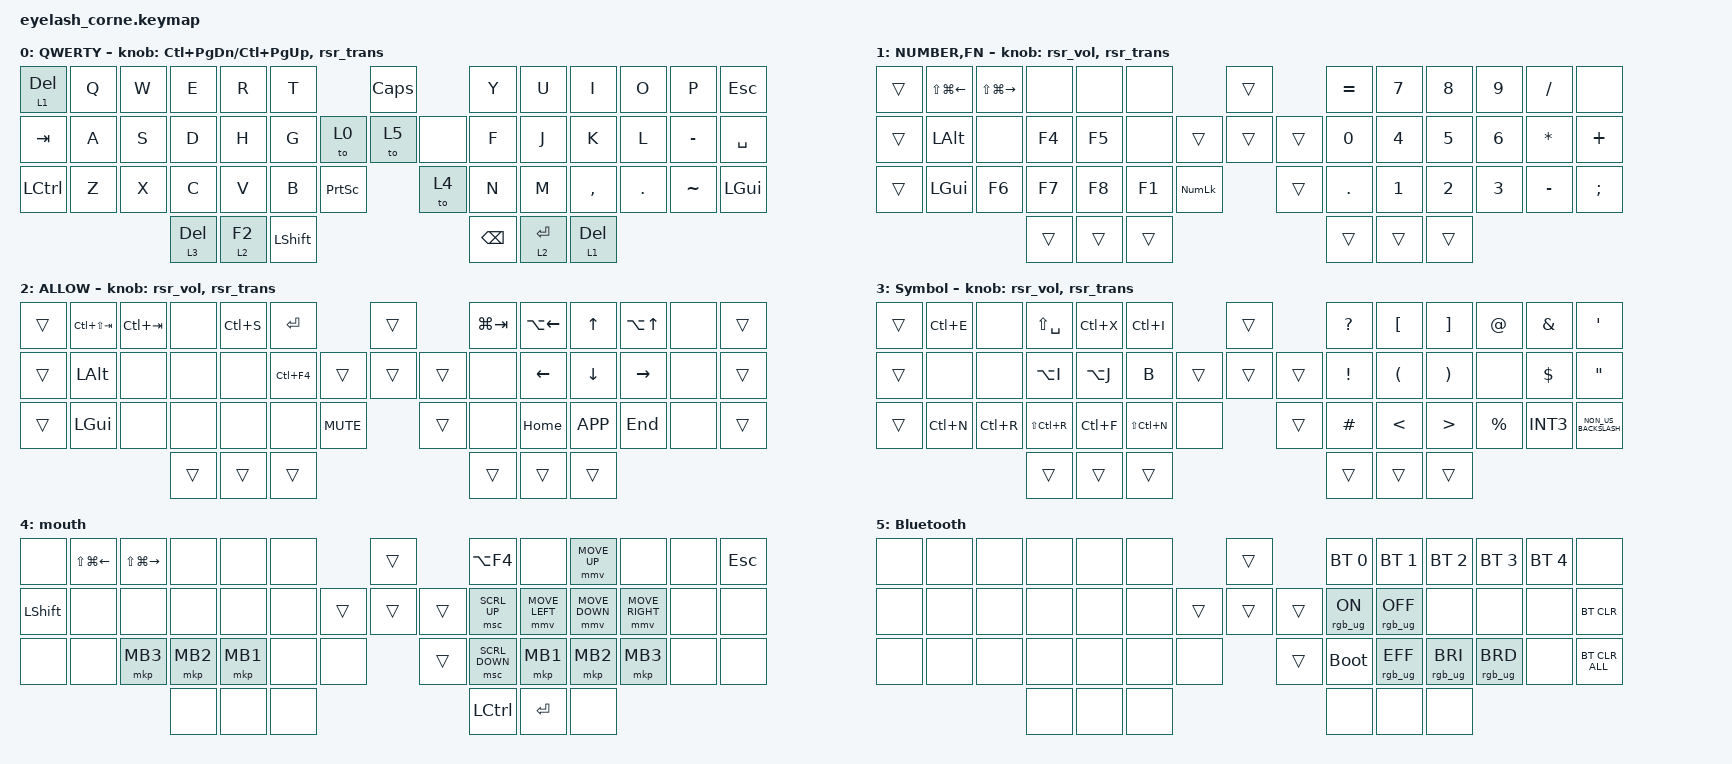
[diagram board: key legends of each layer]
#define ZMK_POINTING_DEFAULT_MOVE_VAL 1200  // 600
#define ZMK_POINTING_DEFAULT_SCRL_VAL 25   // 10

#include <input/processors.dtsi>
#include <zephyr/dt-bindings/input/input-event-codes.h>
#include <behaviors/runtime-sensor-rotate.dtsi>
#include <behaviors.dtsi>
#include <dt-bindings/zmk/bt.h>
#include <dt-bindings/zmk/keys.h>
#include <dt-bindings/zmk/pointing.h>
#include <dt-bindings/zmk/rgb.h>

&mmv_input_listener { input-processors = <&zip_xy_scaler 2 1>; };

&msc_input_listener { input-processors = <&zip_scroll_scaler 2 1>; };

&msc {
    acceleration-exponent = <1>;      // 0
    time-to-max-speed-ms = <100>;       // 300
    delay-ms = <0>;                   // 0
};

&mmv {
    time-to-max-speed-ms = <500>;
    acceleration-exponent = <1>;
    trigger-period-ms = <16>;
};

&soft_off { hold-time-ms = <2000>; };

/ {
    behaviors {
        td0: td0 {
            compatible = "zmk,behavior-tap-dance";
            display-name = "Shift/Caps Lock Tap Dance";
            #binding-cells = <0>;
            bindings = <&kp LEFT_SHIFT>, <&kp CAPS>;
        };
    };

    rgb_encoder: rgb_encoder {
        compatible = "zmk,behavior-sensor-rotate";
        #sensor-binding-cells = <0>;
        bindings = <&rgb_ug RGB_BRI>, <&rgb_ug RGB_BRD>;
    };

    scroll_encoder: scroll_encoder {
        compatible = "zmk,behavior-sensor-rotate";
        #sensor-binding-cells = <0>;
        bindings = <&msc SCRL_DOWN>, <&msc SCRL_UP>;

        tap-ms = <100>;
    };

    behaviors {
        rsr_vol: rsr_vol {
            compatible = "zmk,behavior-runtime-sensor-rotate";
            #sensor-binding-cells = <0>;
            tap-ms = <5>;
            cw-binding = <&kp C_VOL_UP>;
            ccw-binding = <&kp C_VOL_DN>;
        };

        rsr_trans: rsr_trans {
            compatible = "zmk,behavior-runtime-sensor-rotate";
            #sensor-binding-cells = <0>;
            tap-ms = <0>;
        };
    };

    combos {
        compatible = "zmk,combos";

        half {
            bindings = <&kp F6>;
            key-positions = <16 17>;
        };

        full {
            bindings = <&kp F9>;
            key-positions = <16 18>;
        };
    };

    keymap {
        compatible = "zmk,keymap";

        default_layer {
            display-name = "QWERTY";
            bindings = <
&lt 1 DELETE  &kp Q  &kp W  &kp E         &kp R     &kp T                                     &kp CAPS         &kp Y          &kp U        &kp I         &kp O       &kp P      &kp ESC
&kp TAB       &kp A  &kp S  &kp D         &kp H     &kp G                              &to 0  &to 5     &none  &kp F          &kp J        &kp K         &kp L       &kp MINUS  &kp SPACE
&kp LCTRL     &kp Z  &kp X  &kp C         &kp V     &kp B           &kp PRINTSCREEN           &to 4            &kp N          &kp M        &kp COMMA     &kp PERIOD  &kp TILDE  &kp LEFT_GUI
                            &lt 3 DELETE  &lt 2 F2  &kp LEFT_SHIFT                                             &kp BACKSPACE  &lt 2 ENTER  &lt 1 DELETE
            >;

            sensor-bindings =
                <&inc_dec_kp LC(PAGE_DOWN) LC(PAGE_UP)>,
                <&rsr_trans>;
        };

        lower_layer {
            display-name = "NUMBER,FN";
            bindings = <
&trans  &kp LS(LG(LEFT))  &kp LS(LG(RIGHT))  &none   &none   &none                             &trans          &kp EQUAL   &kp N7  &kp N8        &kp NUMBER_9  &kp SLASH     &none
&trans  &kp LEFT_ALT      &none              &kp F4  &kp F5  &none                     &trans  &trans  &trans  &kp N0      &kp N4  &kp NUMBER_5  &kp NUMBER_6  &kp ASTERISK  &kp PLUS
&trans  &kp LEFT_GUI      &kp F6             &kp F7  &kp F8  &kp F1  &kp KP_NUMLOCK            &trans          &kp PERIOD  &kp N1  &kp N2        &kp N3        &kp MINUS     &kp SEMICOLON
                                             &trans  &trans  &trans                                            &trans      &trans  &trans
            >;

            sensor-bindings = <&rsr_vol &rsr_trans>;
        };

        raise_layer {
            display-name = "ALLOW";
            bindings = <
&trans  &kp LC(LS(TAB))  &kp LC(TAB)  &none   &kp LC(S)  &kp ENTER                         &trans          &kp LG(TAB)  &kp LA(LEFT)  &kp UP_ARROW  &kp LA(UP_ARROW)  &none  &trans
&trans  &kp LEFT_ALT     &none        &none   &none      &kp LC(F4)                &trans  &trans  &trans  &none        &kp LEFT      &kp DOWN      &kp RIGHT         &none  &trans
&trans  &kp LEFT_GUI     &none        &none   &none      &none       &kp C_MUTE            &trans          &none        &kp HOME      &kp K_APP     &kp END           &none  &trans
                                      &trans  &trans     &trans                                            &trans       &trans        &trans
            >;

            sensor-bindings = <&rsr_vol &rsr_trans>;
        };

        layer_3 {
            display-name = "Symbol";
            bindings = <
&trans  &kp LC(E)  &none      &kp LS(SPACE)  &kp LC(X)  &kp LC(I)                       &trans          &kp QUESTION     &kp LEFT_BRACKET      &kp RIGHT_BRACKET      &kp AT_SIGN  &kp AMPERSAND  &kp SQT
&trans  &none      &none      &kp LA(I)      &kp LA(J)  &kp B                   &trans  &trans  &trans  &kp EXCLAMATION  &kp LEFT_PARENTHESIS  &kp RIGHT_PARENTHESIS  &none        &kp DLLR       &kp DOUBLE_QUOTES
&trans  &kp LC(N)  &kp LC(R)  &kp LS(LC(R))  &kp LC(F)  &kp LS(LC(N))  &none            &trans          &kp HASH         &kp LESS_THAN         &kp GREATER_THAN       &kp PERCENT  &kp INT3       &kp NON_US_BACKSLASH
                              &trans         &trans     &trans                                          &trans           &trans                &trans
            >;

            sensor-bindings = <&rsr_vol &rsr_trans>;
        };

        mouth {
            bindings = <
&none           &kp LS(LG(LEFT))  &kp LS(LG(RIGHT))  &none     &none     &none                   &trans          &kp LA(F4)      &none           &mmv MOVE_UP    &none            &none  &kp ESCAPE
&kp LEFT_SHIFT  &none             &none              &none     &none     &none           &trans  &trans  &trans  &msc SCRL_UP    &mmv MOVE_LEFT  &mmv MOVE_DOWN  &mmv MOVE_RIGHT  &none  &none
&none           &none             &mkp MB3           &mkp MB2  &mkp MB1  &none  &none            &trans          &msc SCRL_DOWN  &mkp MB1        &mkp MB2        &mkp MB3         &none  &none
                                                     &none     &none     &none                                   &kp LCTRL       &kp ENTER       &none
            >;
        };

        Bluetooth {
            bindings = <
&none  &none  &none  &none  &none  &none                   &trans          &bt BT_SEL 0    &bt BT_SEL 1     &bt BT_SEL 2     &bt BT_SEL 3     &bt BT_SEL 4  &none
&none  &none  &none  &none  &none  &none           &trans  &trans  &trans  &rgb_ug RGB_ON  &rgb_ug RGB_OFF  &none            &none            &none         &bt BT_CLR
&none  &none  &none  &none  &none  &none  &none            &trans          &bootloader     &rgb_ug RGB_EFF  &rgb_ug RGB_BRI  &rgb_ug RGB_BRD  &none         &bt BT_CLR_ALL
                     &none  &none  &none                                   &none           &none            &none
            >;
        };
    };
};
